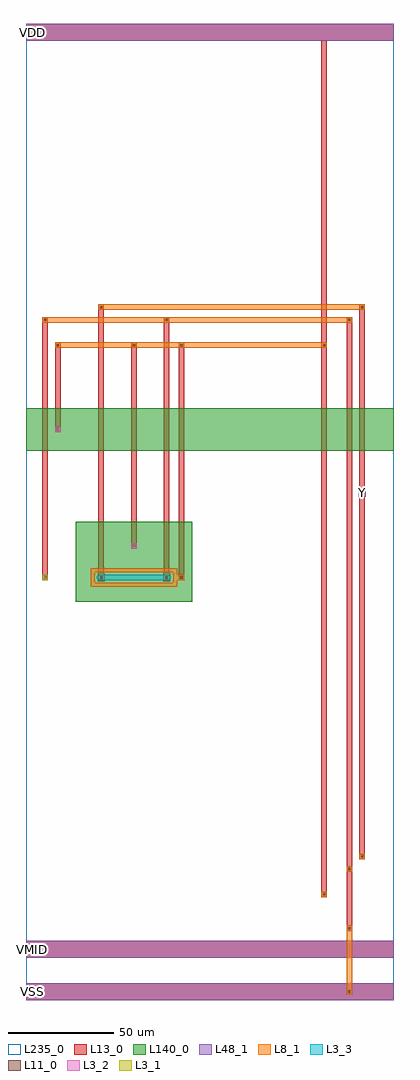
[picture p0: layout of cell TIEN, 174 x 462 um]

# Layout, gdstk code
import gdstk
lib = gdstk.Library(unit=1e-6, precision=1e-09)
def R(c, l, rs):  # rectangles x0, y0, x1, y1
    for r in rs: c.add(gdstk.rectangle(r[:2], r[2:], *l))
def P(c, l, *ps):  # polygons
    for p in ps: c.add(gdstk.Polygon(p, *l))
L3_1 = (3, 1)
L3_2 = (3, 2)
L3_3 = (3, 3)
L8_1 = (8, 1)
L11_0 = (11, 0)
L13_0 = (13, 0)
L48_1 = (48, 1)
L140_0 = (140, 0)
L235_0 = (235, 0)

res_diff__tien = lib.new_cell('res_diff__TIEN')
P(res_diff__tien, L3_3, [(-16.5,-1.4),(-17.5,-0.4),(-17.5,0.4),(-16.5,1.4),(16.5,1.4),(17.5,0.4),(17.5,-0.4),(16.5,-1.4)])
P(res_diff__tien, L8_1, [(-20.5,-4.4),(-20.5,2.4),(-18.5,2.4),(-18.5,-2.4),(18.5,-2.4),(18.5,2.4),(-20.5,2.4),(-20.5,4.4),(20.5,4.4),(20.5,-4.4)])
R(res_diff__tien, L11_0, [(-16,-0.5,-15,0.5), (15,-0.5,16,0.5)])
R(res_diff__tien, L13_0, [(-17.2,-1.7,-13.8,1.7), (13.8,-1.7,17.2,1.7)])

cont_n__tien = lib.new_cell('cont_n__TIEN')
R(cont_n__tien, L3_2, [(-1.3,-1.3,1.3,1.3)])
R(cont_n__tien, L11_0, [(-0.5,-0.5,0.5,0.5)])
R(cont_n__tien, L13_0, [(-1.3,-1.3,1.3,1.3)])

cont_g__tien = lib.new_cell('cont_g__TIEN')
R(cont_g__tien, L8_1, [(-1.3,-1.3,1.3,1.3)])
R(cont_g__tien, L11_0, [(-0.5,-0.5,0.5,0.5)])
R(cont_g__tien, L13_0, [(-1.3,-1.3,1.3,1.3)])

cont_p__tien = lib.new_cell('cont_p__TIEN')
R(cont_p__tien, L3_1, [(-1.3,-1.3,1.3,1.3)])
R(cont_p__tien, L11_0, [(-0.5,-0.5,0.5,0.5)])
R(cont_p__tien, L13_0, [(-1.3,-1.3,1.3,1.3)])

tien = lib.new_cell('TIEN')
R(tien, L8_1, [(151.7,2.7,154.3,35.3), (70.2,198.7,74.8,201.3), (13.7,308.7,142.3,311.3), (7.7,320.7,154.3,323.3), (34.2,326.7,160.3,329.3)])
R(tien, L13_0, [(0,0,174,8), (0,20,174,28), (151.7,32.7,154.3,63.3), (139.7,48.7,142.3,311.3), (151.7,60.7,154.3,323.3), (157.7,66.7,160.3,329.3), (7.7,198.7,10.3,323.3), (34.2,198.7,36.8,329.3), (65.2,198.7,67.8,323.3), (72.2,198.7,74.8,311.3), (49.7,213.7,52.3,311.3), (157.3,238.3,160.7,241.7), (13.7,268.7,16.3,311.3), (139.7,308.7,142.3,459.3), (0,454,174,462)])
R(tien, L48_1, [(0,0,174,8), (0,20,174,28), (157.3,238.3,160.7,241.7), (0,454,174,462)])
R(tien, L140_0, [(23.5,188.6,78.5,226.4), (0,260,174,280)])
R(tien, L235_0, [(0,0,174,462)])
tien.add(gdstk.Reference(res_diff__tien, (51,200)))
tien.add(gdstk.Reference(cont_n__tien, (51,215)))
tien.add(gdstk.Reference(cont_g__tien, (73.5,200)))
tien.add(gdstk.Reference(cont_n__tien, (15,270)))
tien.add(gdstk.Reference(cont_p__tien, (9,200)))
tien.add(gdstk.Reference(cont_g__tien, (141,50)))
tien.add(gdstk.Reference(cont_g__tien, (51,310)))
tien.add(gdstk.Reference(cont_g__tien, (73.5,310)))
tien.add(gdstk.Reference(cont_g__tien, (15,310)))
tien.add(gdstk.Reference(cont_g__tien, (141,310)))
tien.add(gdstk.Reference(cont_g__tien, (153,62)))
tien.add(gdstk.Reference(cont_g__tien, (66.5,322)))
tien.add(gdstk.Reference(cont_g__tien, (9,322)))
tien.add(gdstk.Reference(cont_g__tien, (153,322)))
tien.add(gdstk.Reference(cont_g__tien, (153,34)))
tien.add(gdstk.Reference(cont_g__tien, (153,4)))
tien.add(gdstk.Reference(cont_g__tien, (159,68)))
tien.add(gdstk.Reference(cont_g__tien, (35.5,328)))
tien.add(gdstk.Reference(cont_g__tien, (159,328)))
tien.add(gdstk.Label('Y', (159,240), layer=48, texttype=0))
tien.add(gdstk.Label('VDD', (3,458), layer=48, texttype=0))
tien.add(gdstk.Label('VMID', (3,24), layer=48, texttype=0))
tien.add(gdstk.Label('VSS', (3,4), layer=48, texttype=0))

lib.write_gds('TIEN.gds')
